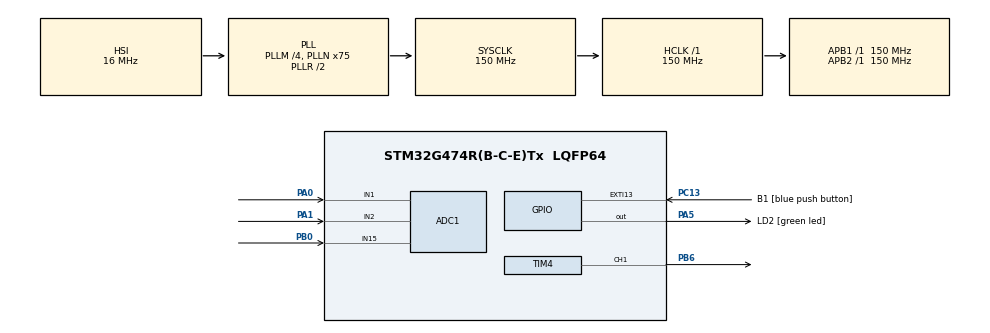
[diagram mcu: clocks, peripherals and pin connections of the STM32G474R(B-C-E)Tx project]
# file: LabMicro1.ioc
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ADC1.Channel-0\#ChannelRegularConversion=ADC_CHANNEL_1
ADC1.Channel-3\#ChannelRegularConversion=ADC_CHANNEL_2
ADC1.Channel-4\#ChannelRegularConversion=ADC_CHANNEL_15
ADC1.ContinuousConvMode=DISABLE
ADC1.DMAContinuousRequests=ENABLE
ADC1.ExternalTrigConv=ADC_EXTERNALTRIG_T3_TRGO
ADC1.NbrOfConversion=3
ADC1.NbrOfConversionFlag=1
ADC1.OffsetNumber-0\#ChannelRegularConversion=ADC_OFFSET_NONE
ADC1.OffsetNumber-3\#ChannelRegularConversion=ADC_OFFSET_NONE
ADC1.OffsetNumber-4\#ChannelRegularConversion=ADC_OFFSET_NONE
ADC1.Rank-0\#ChannelRegularConversion=1
ADC1.Rank-3\#ChannelRegularConversion=2
ADC1.Rank-4\#ChannelRegularConversion=3
ADC1.SamplingTime-0\#ChannelRegularConversion=ADC_SAMPLETIME_2CYCLES_5
ADC1.SamplingTime-3\#ChannelRegularConversion=ADC_SAMPLETIME_2CYCLES_5
ADC1.SamplingTime-4\#ChannelRegularConversion=ADC_SAMPLETIME_2CYCLES_5
ADC1.master=1
Dma.ADC1.0.Direction=DMA_PERIPH_TO_MEMORY
Dma.ADC1.0.EventEnable=DISABLE
Dma.ADC1.0.Instance=DMA1_Channel1
Dma.ADC1.0.MemDataAlignment=DMA_MDATAALIGN_HALFWORD
Dma.ADC1.0.MemInc=DMA_MINC_ENABLE
Dma.ADC1.0.Mode=DMA_CIRCULAR
Dma.ADC1.0.PeriphDataAlignment=DMA_PDATAALIGN_HALFWORD
Dma.ADC1.0.PeriphInc=DMA_PINC_DISABLE
Dma.ADC1.0.Polarity=HAL_DMAMUX_REQ_GEN_RISING
Dma.ADC1.0.Priority=DMA_PRIORITY_LOW
Dma.ADC1.0.RequestNumber=1
Dma.ADC1.0.SignalID=NONE
Dma.ADC1.0.SyncEnable=DISABLE
Dma.ADC1.0.SyncPolarity=HAL_DMAMUX_SYNC_NO_EVENT
Dma.ADC1.0.SyncRequestNumber=1
Dma.ADC1.0.SyncSignalID=NONE
Dma.Request0=ADC1
Mcu.Family=STM32G4
Mcu.Name=STM32G474R(B-C-E)Tx
Mcu.Package=LQFP64
NVIC.DMA1_Channel1_IRQn=true\:0\:0\:false\:false\:true\:false\:true\:true
NVIC.EXTI15_10_IRQn=true\:0\:0\:false\:false\:true\:true\:true\:true
NVIC.PriorityGroup=NVIC_PRIORITYGROUP_4
NVIC.TIM2_IRQn=true\:0\:0\:false\:false\:true\:true\:true\:true
PA0.Mode=IN1-Single-Ended
PA0.Signal=ADC1_IN1
PA1.Mode=IN2-Single-Ended
PA1.Signal=ADC1_IN2
PA13.GPIO_Label=T_SWDIO
PA13.Mode=Serial_Wire
PA13.Signal=SYS_JTMS-SWDIO
PA14.GPIO_Label=T_SWCLK
PA14.Mode=Serial_Wire
PA14.Signal=SYS_JTCK-SWCLK
PA5.GPIO_Label=LD2 [green led]
PA5.Signal=GPIO_Output
PB0.Mode=IN15-Single-Ended
PB0.Signal=ADC1_IN15
PB3.GPIO_Label=T_SWO
PB3.Signal=SYS_JTDO-SWO
PB6.Signal=S_TIM4_CH1
PC13.GPIO_Label=B1 [blue push button]
PC13.Signal=GPXTI13
PC14-OSC32_IN.Mode=LSE-External-Oscillator
PC14-OSC32_IN.Signal=RCC_OSC32_IN
PC15-OSC32_OUT.Mode=LSE-External-Oscillator
PC15-OSC32_OUT.Signal=RCC_OSC32_OUT
PF0-OSC_IN.Mode=HSE-External-Oscillator
PF0-OSC_IN.Signal=RCC_OSC_IN
PF1-OSC_OUT.Mode=HSE-External-Oscillator
PF1-OSC_OUT.Signal=RCC_OSC_OUT
ProjectManager.HeapSize=0x200
ProjectManager.StackSize=0x400
ProjectManager.TargetToolchain=STM32CubeIDE
RCC.ADC12Freq_Value=150000000
RCC.ADC345Freq_Value=150000000
RCC.AHBFreq_Value=150000000
RCC.APB1Freq_Value=150000000
RCC.APB1TimFreq_Value=150000000
RCC.APB2Freq_Value=150000000
RCC.APB2TimFreq_Value=150000000
RCC.CortexFreq_Value=150000000
RCC.EXTERNAL_CLOCK_VALUE=12288000
RCC.HCLKFreq_Value=150000000
RCC.HSE_VALUE=24000000
RCC.HSI48_VALUE=48000000
RCC.HSI_VALUE=16000000
RCC.PLLM=RCC_PLLM_DIV4
RCC.PLLN=75
RCC.RTCClockSelection=RCC_RTCCLKSOURCE_LSE
RCC.SYSCLKFreq_VALUE=150000000
RCC.SYSCLKSource=RCC_SYSCLKSOURCE_PLLCLK
RCC.USBFreq_Value=150000000
RCC.VCOOutputFreq_Value=300000000
SH.S_TIM4_CH1.0=TIM4_CH1,PWM Generation1 CH1
TIM2.PeriodNoDither=4294967295
TIM2.Prescaler=149
TIM3.AutoReloadPreload=TIM_AUTORELOAD_PRELOAD_DISABLE
TIM3.PeriodNoDither=9
TIM3.Prescaler=14999
TIM3.TIM_MasterOutputTrigger=TIM_TRGO_UPDATE
TIM4.Channel-PWM\ Generation1\ CH1=TIM_CHANNEL_1
TIM4.PeriodNoDither=19999
TIM4.Prescaler=149
TIM4.PulseNoDither_1=500
VP_SYS_VS_DBSignals.Mode=DisableDeadBatterySignals
VP_TIM2_VS_ClockSourceINT.Mode=Internal
VP_TIM3_VS_ClockSourceINT.Mode=Internal
VP_TIM4_VS_ClockSourceINT.Mode=Internal
board=NUCLEO-G474RE

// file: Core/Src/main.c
/* USER CODE BEGIN Header */
/**
  ******************************************************************************
  * @file           : main.c
  * @brief          : Main program body
  ******************************************************************************
  * @attention
  *
  * Copyright (c) 2024 STMicroelectronics.
  * All rights reserved.
  *
  * This software is licensed under terms that can be found in the LICENSE file
  * in the root directory of this software component.
  * If no LICENSE file comes with this software, it is provided AS-IS.
  *
  ******************************************************************************
  */
/* USER CODE END Header */
#include "main.h"

ADC_HandleTypeDef hadc1;
DMA_HandleTypeDef hdma_adc1;

TIM_HandleTypeDef htim2;
TIM_HandleTypeDef htim3;
TIM_HandleTypeDef htim4;

/* USER CODE BEGIN PV */
uint16_t rawtim3 = 0;
uint16_t roundtim3 = 0;
uint32_t rawtim2 = 0;
uint32_t roundtim2 = -1;

uint16_t poten[300];
uint16_t avPoten1 = 0;
uint16_t avPoten2 = 0;
uint16_t avPoten3 = 0;
uint64_t sumTim2 = 0;

uint16_t percentPoten1 = 0;
double pulse = 0 ;

//uint64_t sumPoten[3] = {0};

/* USER CODE END PV */

void SystemClock_Config(void);
static void MX_GPIO_Init(void);
static void MX_DMA_Init(void);
static void MX_ADC1_Init(void);
static void MX_TIM3_Init(void);
static void MX_TIM2_Init(void);
static void MX_TIM4_Init(void);
/* USER CODE BEGIN PFP */
void Average();
void Servo();

/* USER CODE END PFP */

int main(void)
{

  /* MCU Configuration--------------------------------------------------------*/

  /* Reset of all peripherals, Initializes the Flash interface and the Systick. */
  HAL_Init();

  /* Configure the system clock */
  SystemClock_Config();

  /* Initialize all configured peripherals */
  MX_GPIO_Init();
  MX_DMA_Init();
  MX_ADC1_Init();
  MX_TIM3_Init();
  MX_TIM2_Init();
  MX_TIM4_Init();
  /* USER CODE BEGIN 2 */
  HAL_TIM_Base_Start_IT(&htim2);
  //HAL_TIM_Base_Start_IT(&htim3);

  HAL_ADC_Start_DMA(&hadc1, poten, 300);
  HAL_TIM_Base_Start(&htim3);

  HAL_TIM_Base_Start(&htim4);
  HAL_TIM_PWM_Start(&htim4, TIM_CHANNEL_1);
  /* USER CODE END 2 */

  /* Infinite loop */
  while (1)
  {

    /* USER CODE BEGIN 3 */
	  rawtim2 = __HAL_TIM_GET_COUNTER(&htim2);
	  rawtim3 = __HAL_TIM_GET_COUNTER(&htim3);
	  //HAL_Delay(1000);
	  sumTim2 = rawtim2+(roundtim2*(4294967295));
	  Average();

	  Servo();
	  //HAL_Delay(500);

  }
  /* USER CODE END 3 */
}

void SystemClock_Config(void)
{
  RCC_OscInitTypeDef RCC_OscInitStruct = {0};
  RCC_ClkInitTypeDef RCC_ClkInitStruct = {0};

  /** Configure the main internal regulator output voltage
  */
  HAL_PWREx_ControlVoltageScaling(PWR_REGULATOR_VOLTAGE_SCALE1);

  /** Initializes the RCC Oscillators according to the specified parameters
  * in the RCC_OscInitTypeDef structure.
  */
  RCC_OscInitStruct.OscillatorType = RCC_OSCILLATORTYPE_HSI;
  RCC_OscInitStruct.HSIState = RCC_HSI_ON;
  RCC_OscInitStruct.HSICalibrationValue = RCC_HSICALIBRATION_DEFAULT;
  RCC_OscInitStruct.PLL.PLLState = RCC_PLL_ON;
  RCC_OscInitStruct.PLL.PLLSource = RCC_PLLSOURCE_HSI;
  RCC_OscInitStruct.PLL.PLLM = RCC_PLLM_DIV4;
  RCC_OscInitStruct.PLL.PLLN = 75;
  RCC_OscInitStruct.PLL.PLLP = RCC_PLLP_DIV2;
  RCC_OscInitStruct.PLL.PLLQ = RCC_PLLQ_DIV2;
  RCC_OscInitStruct.PLL.PLLR = RCC_PLLR_DIV2;
  if (HAL_RCC_OscConfig(&RCC_OscInitStruct) != HAL_OK)
  {
    Error_Handler();
  }

  /** Initializes the CPU, AHB and APB buses clocks
  */
  RCC_ClkInitStruct.ClockType = RCC_CLOCKTYPE_HCLK|RCC_CLOCKTYPE_SYSCLK
                              |RCC_CLOCKTYPE_PCLK1|RCC_CLOCKTYPE_PCLK2;
  RCC_ClkInitStruct.SYSCLKSource = RCC_SYSCLKSOURCE_PLLCLK;
  RCC_ClkInitStruct.AHBCLKDivider = RCC_SYSCLK_DIV1;
  RCC_ClkInitStruct.APB1CLKDivider = RCC_HCLK_DIV1;
  RCC_ClkInitStruct.APB2CLKDivider = RCC_HCLK_DIV1;

  if (HAL_RCC_ClockConfig(&RCC_ClkInitStruct, FLASH_LATENCY_4) != HAL_OK)
  {
    Error_Handler();
  }
}

static void MX_ADC1_Init(void)
{

  ADC_MultiModeTypeDef multimode = {0};
  ADC_ChannelConfTypeDef sConfig = {0};

  /** Common config
  */
  hadc1.Instance = ADC1;
  hadc1.Init.ClockPrescaler = ADC_CLOCK_SYNC_PCLK_DIV4;
  hadc1.Init.Resolution = ADC_RESOLUTION_12B;
  hadc1.Init.DataAlign = ADC_DATAALIGN_RIGHT;
  hadc1.Init.GainCompensation = 0;
  hadc1.Init.ScanConvMode = ADC_SCAN_ENABLE;
  hadc1.Init.EOCSelection = ADC_EOC_SINGLE_CONV;
  hadc1.Init.LowPowerAutoWait = DISABLE;
  hadc1.Init.ContinuousConvMode = DISABLE;
  hadc1.Init.NbrOfConversion = 3;
  hadc1.Init.DiscontinuousConvMode = DISABLE;
  hadc1.Init.ExternalTrigConv = ADC_EXTERNALTRIG_T3_TRGO;
  hadc1.Init.ExternalTrigConvEdge = ADC_EXTERNALTRIGCONVEDGE_RISING;
  hadc1.Init.DMAContinuousRequests = ENABLE;
  hadc1.Init.Overrun = ADC_OVR_DATA_PRESERVED;
  hadc1.Init.OversamplingMode = DISABLE;
  if (HAL_ADC_Init(&hadc1) != HAL_OK)
  {
    Error_Handler();
  }

  /** Configure the ADC multi-mode
  */
  multimode.Mode = ADC_MODE_INDEPENDENT;
  if (HAL_ADCEx_MultiModeConfigChannel(&hadc1, &multimode) != HAL_OK)
  {
    Error_Handler();
  }

  /** Configure Regular Channel
  */
  sConfig.Channel = ADC_CHANNEL_1;
  sConfig.Rank = ADC_REGULAR_RANK_1;
  sConfig.SamplingTime = ADC_SAMPLETIME_2CYCLES_5;
  sConfig.SingleDiff = ADC_SINGLE_ENDED;
  sConfig.OffsetNumber = ADC_OFFSET_NONE;
  sConfig.Offset = 0;
  if (HAL_ADC_ConfigChannel(&hadc1, &sConfig) != HAL_OK)
  {
    Error_Handler();
  }

  /** Configure Regular Channel
  */
  sConfig.Channel = ADC_CHANNEL_2;
  sConfig.Rank = ADC_REGULAR_RANK_2;
  if (HAL_ADC_ConfigChannel(&hadc1, &sConfig) != HAL_OK)
  {
    Error_Handler();
  }

  /** Configure Regular Channel
  */
  sConfig.Channel = ADC_CHANNEL_15;
  sConfig.Rank = ADC_REGULAR_RANK_3;
  if (HAL_ADC_ConfigChannel(&hadc1, &sConfig) != HAL_OK)
  {
    Error_Handler();
  }

}

static void MX_TIM2_Init(void)
{

  TIM_ClockConfigTypeDef sClockSourceConfig = {0};
  TIM_MasterConfigTypeDef sMasterConfig = {0};

  htim2.Instance = TIM2;
  htim2.Init.Prescaler = 149;
  htim2.Init.CounterMode = TIM_COUNTERMODE_UP;
  htim2.Init.Period = 4.294967295E9;
  htim2.Init.ClockDivision = TIM_CLOCKDIVISION_DIV1;
  htim2.Init.AutoReloadPreload = TIM_AUTORELOAD_PRELOAD_DISABLE;
  if (HAL_TIM_Base_Init(&htim2) != HAL_OK)
  {
    Error_Handler();
  }
  sClockSourceConfig.ClockSource = TIM_CLOCKSOURCE_INTERNAL;
  if (HAL_TIM_ConfigClockSource(&htim2, &sClockSourceConfig) != HAL_OK)
  {
    Error_Handler();
  }
  sMasterConfig.MasterOutputTrigger = TIM_TRGO_RESET;
  sMasterConfig.MasterSlaveMode = TIM_MASTERSLAVEMODE_DISABLE;
  if (HAL_TIMEx_MasterConfigSynchronization(&htim2, &sMasterConfig) != HAL_OK)
  {
    Error_Handler();
  }

}

static void MX_TIM3_Init(void)
{

  TIM_ClockConfigTypeDef sClockSourceConfig = {0};
  TIM_MasterConfigTypeDef sMasterConfig = {0};

  htim3.Instance = TIM3;
  htim3.Init.Prescaler = 14999;
  htim3.Init.CounterMode = TIM_COUNTERMODE_UP;
  htim3.Init.Period = 9;
  htim3.Init.ClockDivision = TIM_CLOCKDIVISION_DIV1;
  htim3.Init.AutoReloadPreload = TIM_AUTORELOAD_PRELOAD_DISABLE;
  if (HAL_TIM_Base_Init(&htim3) != HAL_OK)
  {
    Error_Handler();
  }
  sClockSourceConfig.ClockSource = TIM_CLOCKSOURCE_INTERNAL;
  if (HAL_TIM_ConfigClockSource(&htim3, &sClockSourceConfig) != HAL_OK)
  {
    Error_Handler();
  }
  sMasterConfig.MasterOutputTrigger = TIM_TRGO_UPDATE;
  sMasterConfig.MasterSlaveMode = TIM_MASTERSLAVEMODE_DISABLE;
  if (HAL_TIMEx_MasterConfigSynchronization(&htim3, &sMasterConfig) != HAL_OK)
  {
    Error_Handler();
  }

}

static void MX_TIM4_Init(void)
{

  TIM_ClockConfigTypeDef sClockSourceConfig = {0};
  TIM_MasterConfigTypeDef sMasterConfig = {0};
  TIM_OC_InitTypeDef sConfigOC = {0};

  htim4.Instance = TIM4;
  htim4.Init.Prescaler = 149;
  htim4.Init.CounterMode = TIM_COUNTERMODE_UP;
  htim4.Init.Period = 19999;
  htim4.Init.ClockDivision = TIM_CLOCKDIVISION_DIV1;
  htim4.Init.AutoReloadPreload = TIM_AUTORELOAD_PRELOAD_DISABLE;
  if (HAL_TIM_Base_Init(&htim4) != HAL_OK)
  {
    Error_Handler();
  }
  sClockSourceConfig.ClockSource = TIM_CLOCKSOURCE_INTERNAL;
  if (HAL_TIM_ConfigClockSource(&htim4, &sClockSourceConfig) != HAL_OK)
  {
    Error_Handler();
  }
  if (HAL_TIM_PWM_Init(&htim4) != HAL_OK)
  {
    Error_Handler();
  }
  sMasterConfig.MasterOutputTrigger = TIM_TRGO_RESET;
  sMasterConfig.MasterSlaveMode = TIM_MASTERSLAVEMODE_DISABLE;
  if (HAL_TIMEx_MasterConfigSynchronization(&htim4, &sMasterConfig) != HAL_OK)
  {
    Error_Handler();
  }
  sConfigOC.OCMode = TIM_OCMODE_PWM1;
  sConfigOC.Pulse = 500;
  sConfigOC.OCPolarity = TIM_OCPOLARITY_HIGH;
  sConfigOC.OCFastMode = TIM_OCFAST_DISABLE;
  if (HAL_TIM_PWM_ConfigChannel(&htim4, &sConfigOC, TIM_CHANNEL_1) != HAL_OK)
  {
    Error_Handler();
  }
  HAL_TIM_MspPostInit(&htim4);

}

static void MX_DMA_Init(void)
{

  /* DMA controller clock enable */
  __HAL_RCC_DMAMUX1_CLK_ENABLE();
  __HAL_RCC_DMA1_CLK_ENABLE();

  /* DMA interrupt init */
  /* DMA1_Channel1_IRQn interrupt configuration */
  HAL_NVIC_SetPriority(DMA1_Channel1_IRQn, 0, 0);
  HAL_NVIC_EnableIRQ(DMA1_Channel1_IRQn);

}

static void MX_GPIO_Init(void)
{
  GPIO_InitTypeDef GPIO_InitStruct = {0};

  /* GPIO Ports Clock Enable */
  __HAL_RCC_GPIOC_CLK_ENABLE();
  __HAL_RCC_GPIOF_CLK_ENABLE();
  __HAL_RCC_GPIOA_CLK_ENABLE();
  __HAL_RCC_GPIOB_CLK_ENABLE();

  /*Configure GPIO pin Output Level */
  HAL_GPIO_WritePin(LD2_GPIO_Port, LD2_Pin, GPIO_PIN_RESET);

  /*Configure GPIO pin : B1_Pin */
  GPIO_InitStruct.Pin = B1_Pin;
  GPIO_InitStruct.Mode = GPIO_MODE_IT_RISING;
  GPIO_InitStruct.Pull = GPIO_NOPULL;
  HAL_GPIO_Init(B1_GPIO_Port, &GPIO_InitStruct);

  /*Configure GPIO pin : LD2_Pin */
  GPIO_InitStruct.Pin = LD2_Pin;
  GPIO_InitStruct.Mode = GPIO_MODE_OUTPUT_PP;
  GPIO_InitStruct.Pull = GPIO_NOPULL;
  GPIO_InitStruct.Speed = GPIO_SPEED_FREQ_LOW;
  HAL_GPIO_Init(LD2_GPIO_Port, &GPIO_InitStruct);

  /* EXTI interrupt init*/
  HAL_NVIC_SetPriority(EXTI15_10_IRQn, 0, 0);
  HAL_NVIC_EnableIRQ(EXTI15_10_IRQn);

}

/* USER CODE BEGIN 4 */
void HAL_TIM_PeriodElapsedCallback(TIM_HandleTypeDef *htim)
{
	if(htim == &htim2)
	{
		//HAL_GPIO_TogglePin(GPIOA, GPIO_PIN_5);

		roundtim2 = roundtim2 + 1;
	}
}

void Average(){
	uint64_t sumPoten[3] = {0};
	for (int i = 0;i<297;i+=3){
		sumPoten[0] = sumPoten[0]+poten[i];
		sumPoten[1] = sumPoten[1]+poten[i+1];
		sumPoten[2] = sumPoten[2]+poten[i+2];
	}
	avPoten1 = sumPoten[0]/100;
	avPoten2 = sumPoten[1]/100;
	avPoten3 = sumPoten[2]/100;
}

void Servo(){
	percentPoten1 = avPoten1*100/4095;
	if (percentPoten1 <= 25){
	  pulse = 500;
	  } else if( percentPoten1 <= 50 && percentPoten1 >= 25 ){
		  pulse = (avPoten2*2000/4095)+500;
	} else if( percentPoten1 <= 75 && percentPoten1 >= 50 ){
		pulse = (avPoten3*2000/4095)+500;
	} else {
		pulse = 2500;
	}

	  __HAL_TIM_SET_COMPARE(&htim4, TIM_CHANNEL_1, pulse);

}
/* USER CODE END 4 */

void Error_Handler(void)
{
  __disable_irq();
  while (1)
  {
  }
}
